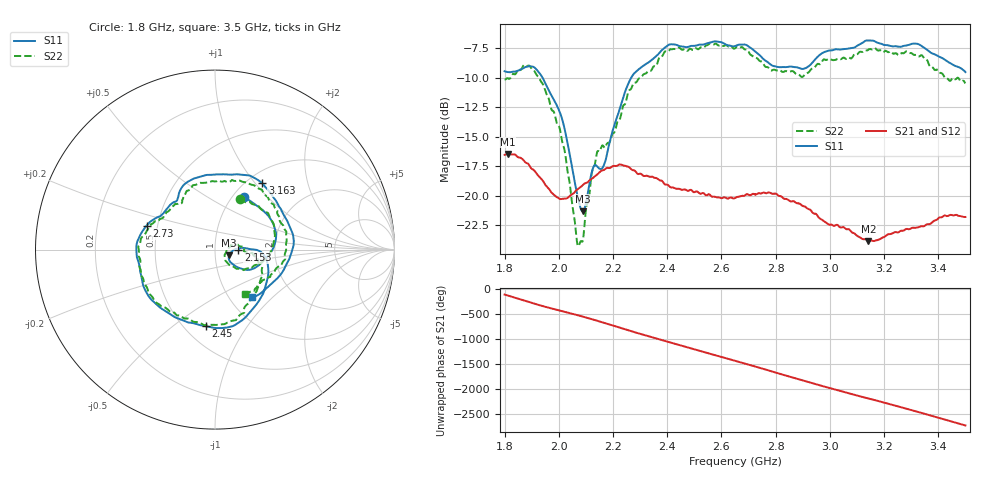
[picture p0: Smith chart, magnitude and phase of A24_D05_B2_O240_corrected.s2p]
! Created with skrf 1.9.0 (http://scikit-rf.org).
# Hz S RI R 50.0
!freq ReS11 ImS11 ReS21 ImS21 ReS12 ImS12 ReS22 ImS22
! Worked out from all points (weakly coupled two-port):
!   1601 points, 1.8 GHz to 3.5 GHz, reference 50 ohm
!   highest |S21| = -16.45 dB at 1.812 GHz (marker M1); lowest = -23.9 dB at 3.142 GHz (marker M2)
!   lowest |S11| = -21.3 dB at 2.088 GHz (marker M3), VSWR 1.19, Z = 58.5 - j3.85 ohm
!   |S11| at or under -10 dB: 1.941 GHz to 2.267 GHz (326.1 MHz wide, 15.5 % of centre)
!   |S22| runs from -24.3 to -7.1 dB; largest |S21 - S12| = 0.0027
!   S11 on the Smith chart (normalised r, x): 1.8 GHz: 1.13, +0.75; 2.153 GHz: 1.30, -0.00; 2.45 GHz: 0.63, -0.66; 2.73 GHz: 0.43, +0.14; 3.163 GHz: 1.17, +1.09; 3.5 GHz: 1.26, -0.75
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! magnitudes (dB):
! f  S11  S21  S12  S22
! 1.8 GHz  -9.4  -16.5  -16.5  -10.1
! 1.812 GHz  -9.5  -16.4  -16.5  -10.0
! 1.887 GHz  -9.0  -17.3  -17.4  -9.0
! 1.942 GHz  -10.1  -18.8  -18.8  -10.6
! 2.011 GHz  -13.4  -20.3  -20.3  -15.3
! 2.067 GHz  -19.8  -19.5  -19.5  -23.9
! 2.084 GHz  -21.2  -19.2  -19.2  -23.9
! 2.088 GHz  -21.3  -19.1  -19.1  -23.8
! 2.127 GHz  -17.6  -18.5  -18.5  -17.7
! 2.153 GHz  -17.7  -18.0  -18.0  -16.1
! 2.192 GHz  -15.0  -17.6  -17.6  -15.2
! 2.263 GHz  -10.1  -17.7  -17.7  -11.0
! 2.367 GHz  -8.0  -18.6  -18.6  -8.5
! 2.45 GHz  -7.3  -19.5  -19.5  -7.5
! 2.65 GHz  -7.3  -20.2  -20.2  -7.5
! 2.73 GHz  -7.9  -19.9  -19.9  -8.3
! 2.934 GHz  -8.7  -21.4  -21.3  -9.2
! 3.142 GHz  -6.8  -23.9  -23.8  -7.6
! 3.163 GHz  -6.9  -23.8  -23.8  -7.5
! 3.217 GHz  -7.3  -23.3  -23.2  -7.8
! 3.326 GHz  -7.1  -22.7  -22.7  -8.2
! 3.5 GHz  -9.5  -21.8  -21.8  -10.5
